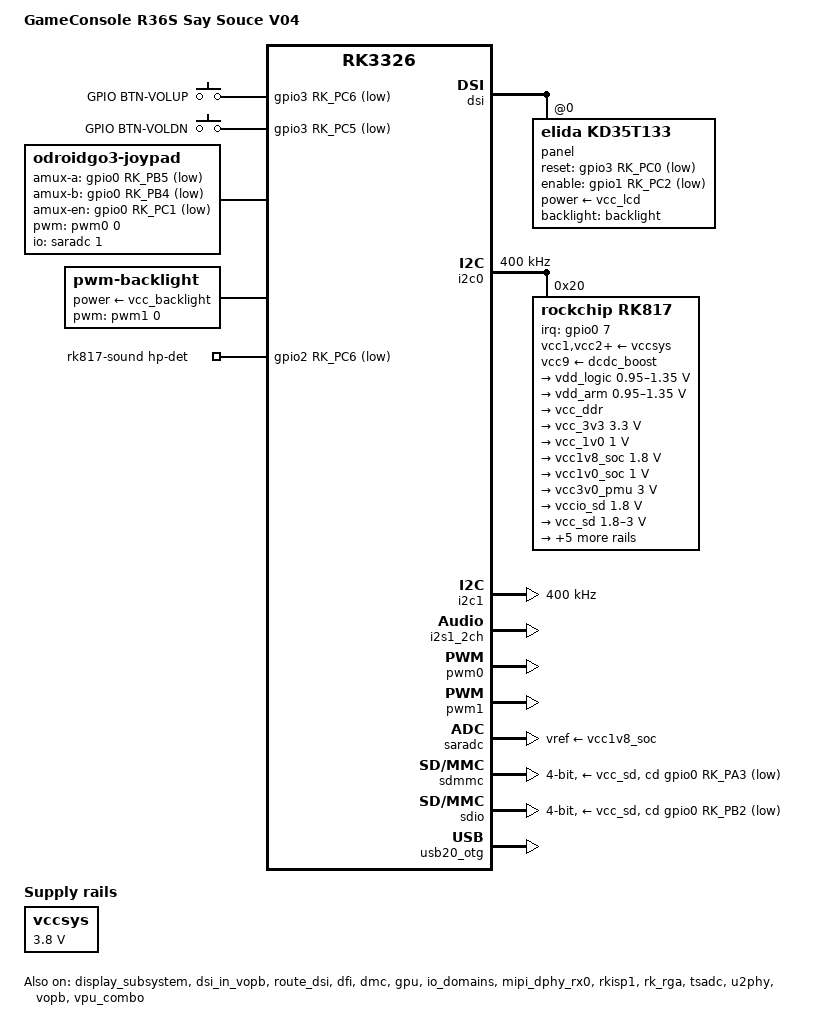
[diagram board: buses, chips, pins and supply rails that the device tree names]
// SPDX-License-Identifier: (GPL-2.0+ OR MIT)
/*
* Copyright (c) 2025 kk&lcdyk
*
* R36S 酱油 V03
*
*/

/dts-v1/;
#include <dt-bindings/display/drm_mipi_dsi.h>
#include <dt-bindings/gpio/gpio.h>
#include <dt-bindings/input/input.h>
#include <dt-bindings/pinctrl/rockchip.h>
#include <dt-bindings/sensor-dev.h>
#include "rk3326.dtsi"
#include "rk3326-linux.dtsi"

/ {
	model = "GameConsole R36S Say Souce V04";
	compatible = "rockchip,rk3326-r36s-sauce04-linux", "rockchip,rk3326";
	
	chosen {
		bootargs = "";
	};
	
	aliases {
		mmc0 = &sdmmc;   /* ff370000：外置 microSD */
		mmc1 = &sdio;   /* ff380000：SDIO Wi-Fi */
	};
	
	gpio_keys: odroidgo3-keys {
		compatible = "gpio-keys";
		#address-cells = <1>;
		#size-cells = <0>;
		autorepeat;
		
		button_vol_up: button-vol-up {
			gpios = <&gpio3 RK_PC6 GPIO_ACTIVE_LOW>;
			label = "GPIO BTN-VOLUP";
			linux,code = <KEY_VOLUMEUP>;
		};
		
		button_vol_down: button-vol-down {
			gpios = <&gpio3 RK_PC5 GPIO_ACTIVE_LOW>;
			label = "GPIO BTN-VOLDN";
			linux,code = <KEY_VOLUMEDOWN>;
		};
	};
	
	joypad: odroidgo3-joypad {
		compatible = "odroidgo3-joypad";
		pwms = <&pwm0 0 200000000 0>;
		pwm-names = "enable";
		rumble-boost-weak = <0x0000>;
		rumble-boost-strong = <0x0000>;
		joypad-name = "GO-Super Gamepad";
		joypad-product = <0x1100>;
		joypad-revision = <0x0100>;
		status = "okay";
		
		/* gpio pincontrol setup */
		pinctrl-names = "default";
		pinctrl-0 = <&btn_pins>;
		pinctrl-1 = <&pwm0_pin>;
		/* Analog mux define */
		io-channel-names = "amux_adc";
		io-channels = <&saradc 1>;
		
		/* adc mux channel count */
		amux-count = <4>;
		amux-channel-mapping = <3 2 0 1>;
		/* adc mux select(a,b) gpio */
		amux-a-gpios = <&gpio0 RK_PB5 GPIO_ACTIVE_LOW>;
		amux-b-gpios = <&gpio0 RK_PB4 GPIO_ACTIVE_LOW>;
		/* adc mux enable gpio */
		amux-en-gpios = <&gpio0 RK_PC1 GPIO_ACTIVE_LOW>;
		/* adc calculate scale */
		button-adc-scale = <2>;
		/* adc deadzone range  */
		button-adc-deadzone = <64>;
		/*
		specifies fuzz value that is used to filter noise from
		the event stream.
		*/
		button-adc-fuzz = <32>;
		button-adc-flat = <32>;
		/*
		Analog Stick data tuning value(precent)
		p = positive direction, n = negative direction
		report value = (real_adc_data * tuning_value) / 100
		*/
		abs_x-p-tuning = <200>;
		abs_x-n-tuning = <200>;
		
		abs_y-p-tuning = <200>;
		abs_y-n-tuning = <200>;
		
		abs_rx-p-tuning = <200>;
		abs_rx-n-tuning = <200>;
		
		abs_ry-p-tuning = <200>;
		abs_ry-n-tuning = <200>;
		
		/* poll device interval (ms), adc read interval */
		poll-interval = <10>;
		invert-absx;
		invert-absy;
		sw1 {
			gpios = <&gpio3 RK_PA7 GPIO_ACTIVE_LOW>;
			label = "GPIO DPAD-UP";
			linux,code = <BTN_DPAD_UP>;
		};
		sw2 {
			gpios = <&gpio3 RK_PB0 GPIO_ACTIVE_LOW>;
			label = "GPIO DPAD-DOWN";
			linux,code = <BTN_DPAD_DOWN>;
		};
		sw3 {
			gpios = <&gpio3 RK_PB2 GPIO_ACTIVE_LOW>;
			label = "GPIO DPAD-LEFT";
			linux,code = <BTN_DPAD_LEFT>;
		};
		sw4 {
			gpios = <&gpio3 RK_PB1 GPIO_ACTIVE_LOW>;
			label = "GPIO DPAD-RIGHT";
			linux,code = <BTN_DPAD_RIGHT>;
		};
		sw5 {
			gpios = <&gpio3 RK_PB6 GPIO_ACTIVE_LOW>;
			label = "GPIO BTN-A";
			linux,code = <BTN_EAST>;
		};
		sw6 {
			gpios = <&gpio3 RK_PB4 GPIO_ACTIVE_LOW>;
			label = "GPIO BTN-B";
			linux,code = <BTN_SOUTH>;
		};
		sw7 {
			gpios = <&gpio3 RK_PB3 GPIO_ACTIVE_LOW>;
			label = "GPIO BTN-Y";
			linux,code = <BTN_WEST>;
		};
		sw8 {
			gpios = <&gpio3 RK_PB5 GPIO_ACTIVE_LOW>;
			label = "GPIO BTN-X";
			linux,code = <BTN_NORTH>;
		};
		sw11 {
			gpios = <&gpio0 RK_PB3 GPIO_ACTIVE_LOW>;
			label = "BTN_THUMBL";
			linux,code = <BTN_TRIGGER_HAPPY3>;
		};
		sw12 {
			gpios = <&gpio3 RK_PD3 GPIO_ACTIVE_LOW>;
			label = "BTN_THUMBR";
			linux,code = <BTN_TRIGGER_HAPPY4>;
		};
		sw13 {
			gpios = <&gpio3 RK_PA4 GPIO_ACTIVE_LOW>;
			label = "GPIO BTN_F";
			linux,code = <BTN_TRIGGER_HAPPY5>;
		};
		sw15 {
			gpios = <&gpio3 RK_PA3 GPIO_ACTIVE_LOW>;
			label = "GPIO BTN_TL";
			linux,code = <BTN_TL>;
		};
		sw16 {
			gpios = <&gpio3 RK_PA0 GPIO_ACTIVE_LOW>;
			label = "GPIO BTN_TR";
			linux,code = <BTN_TR>;
		};
		sw19 {
			gpios = <&gpio3 RK_PA5 GPIO_ACTIVE_LOW>;
			label = "BTN_SELECT";
			linux,code = <BTN_TRIGGER_HAPPY1>;
		};
		sw20 {
			gpios = <&gpio3 RK_PA2 GPIO_ACTIVE_LOW>;
			label = "GPIO BTN_TL2";
			linux,code = <BTN_TL2>;
		};
		sw21 {
			gpios = <&gpio3 RK_PA1 GPIO_ACTIVE_LOW>;
			label = "GPIO BTN_TR2";
			linux,code = <BTN_TR2>;
		};
		sw22 {
			gpios = <&gpio3 RK_PA6 GPIO_ACTIVE_LOW>;
			label = "BTN_START";
			linux,code = <BTN_TRIGGER_HAPPY2>;
		};
	};
	
	fiq-debugger {
		compatible = "rockchip,fiq-debugger";
		rockchip,serial-id = <2>;
		rockchip,wake-irq = <0>;
		/* If enable uart uses irq instead of fiq */
		rockchip,irq-mode-enable = <0>;
		rockchip,baudrate = <1500000>;  /* Only 115200 and 1500000 */
		interrupts = <GIC_SPI 127 IRQ_TYPE_LEVEL_LOW>;
		pinctrl-names = "default";
		pinctrl-0 = <&uart2m1_xfer>;
		status = "okay";
	};
	
	backlight: backlight {
		compatible = "pwm-backlight";
		power-supply = <&vcc_backlight>;
		pwms = <&pwm1 0 40000 0>;
		brightness-levels = <
		0   1   2   3   4   5   6   7
		8   9  10  11  12  13  14  15
		16  17  18  19  20  21  22  23
		24  25  26  27  28  29  30  31
		32  33  34  35  36  37  38  39
		40  41  42  43  44  45  46  47
		48  49  50  51  52  53  54  55
		56  57  58  59  60  61  62  63
		64  65  66  67  68  69  70  71
		72  73  74  75  76  77  78  79
		80  81  82  83  84  85  86  87
		88  89  90  91  92  93  94  95
		96  97  98  99 100 101 102 103
		104 105 106 107 108 109 110 111
		112 113 114 115 116 117 118 119
		120 121 122 123 124 125 126 127
		128 129 130 131 132 133 134 135
		136 137 138 139 140 141 142 143
		144 145 146 147 148 149 150 151
		152 153 154 155 156 157 158 159
		160 161 162 163 164 165 166 167
		168 169 170 171 172 173 174 175
		176 177 178 179 180 181 182 183
		184 185 186 187 188 189 190 191
		192 193 194 195 196 197 198 199
		200 201 202 203 204 205 206 207
		208 209 210 211 212 213 214 215
		216 217 218 219 220 221 222 223
		224 225 226 227 228 229 230 231
		232 233 234 235 236 237 238 239
		240 241 242 243 244 245 246 247
		248 249 250 251 252 253 254 255>;
		default-brightness-level = <80>;
	};
	
	// leds: gpio-leds {
	// 	compatible = "gpio-leds";
	// 	pinctrl-names = "default";
	// 	pinctrl-0 = <&led_pins>;
	
	// 	blue_charge: blue-charge {
	// 		label = "blue:charge";
	// 		gpios = <&gpio0 RK_PA0 GPIO_ACTIVE_HIGH>;
	// 		default-state = "off";
	// 	};
	
	// 	red_charge: red-charge {
	// 		label = "red:charge";
	// 		gpios = <&gpio0 RK_PC1 GPIO_ACTIVE_HIGH>;
	// 		default-state = "off";
	// 	};
	
	// 	blue_work: blue-work {
	// 		label = "blue:work";
	// 		gpios = <&gpio0 RK_PB3 GPIO_ACTIVE_HIGH>;
	// 		default-state = "off";
	// 	};
	
	// 	red_work: red-work {
	// 		label = "red:work";
	// 		gpios = <&gpio0 RK_PB4 GPIO_ACTIVE_HIGH>;
	// 		default-state = "off";
	// 	};
	// };
	rk817-sound {
		compatible = "simple-audio-card";
		simple-audio-card,format = "i2s";
		simple-audio-card,name = "rockchip,rk817-codec";
		simple-audio-card,mclk-fs = <256>;
		simple-audio-card,widgets =
		"Microphone", "Mic Jack",
		"Headphone", "Headphone Jack";
		simple-audio-card,routing =
		"MIC_IN", "Mic Jack",
		/*"IN1P", "Mic Jack",*/
		"Headphone Jack", "HPOL",
		"Headphone Jack", "HPOR";
		simple-audio-card,hp-det-gpio = <&gpio2 RK_PC6 GPIO_ACTIVE_LOW>;
		pinctrl-names = "default";
		pinctrl-0 = <&hp_det>;
		simple-audio-card,cpu {
			sound-dai = <&i2s1_2ch>;
		};
		simple-audio-card,codec {
			sound-dai = <&rk817_codec>;
		};
	};
	
	vccsys: vccsys {
		compatible = "regulator-fixed";
		regulator-name = "vcc3v8_sys";
		regulator-always-on;
		// regulator-boot-on;
		regulator-min-microvolt = <3800000>;
		regulator-max-microvolt = <3800000>;
	};
	
};

&bus_apll {
	bus-supply = <&vdd_logic>;
	status = "okay";
};

&cpu0 {
	cpu-supply = <&vdd_arm>;
};

&cpu0_opp_table {
	rockchip,avs = <1>;
	
	/* bin scaling clock 1.296MHz */
	rockchip,bin-scaling-sel = <
	0               13
	1               13
	>;
	
	/delete-node/ opp-408000000;
	/delete-node/ opp-600000000;
	/delete-node/ opp-816000000;
};

&display_subsystem {
	status = "okay";
};

&dsi {
	status = "okay";
	
	panel@0 {
		compatible = "elida,kd35t133", "simple-panel-dsi";
		reg = <0>;
		/* pwm1 backlight */
		backlight = <&backlight>;
		/* RK817 LDO7 */
		// backlight-supply = <&vcc_backlight>;
		/* RK817 LDO8 */
		power-supply = <&vcc_lcd>;
		/* LCD reset gpio GPIO3.B7 */
		reset-gpios = <&gpio3 RK_PC0 GPIO_ACTIVE_LOW>;
		/* power-supply-gpio GPIO0.B5  */
		enable-gpios = <&gpio1 RK_PC2 GPIO_ACTIVE_LOW>;
		prepare-delay-ms = <100>;
		reset-delay-ms = <50>;
		init-delay-ms = <20>;
		enable-delay-ms = <200>;
		disable-delay-ms = <50>;
		unprepare-delay-ms = <20>;
		width-mm = <71>;
		height-mm = <71>;
		dsi,flags  = <0xa03>;
		dsi,format = <MIPI_DSI_FMT_RGB888>;
		dsi,lanes = <4>;
		panel-init-sequence = [39 00 04 b9 f1 12 83 39 00 1c ba 33 81 05 f9 0e 0e 20 00 00 00 00 00 00 00 44 25 00 91 0a 00 00 02 4f d1 00 00 37 15 00 02 b8 25 39 00 04 bf 02 11 00 39 00 0b b3 0c 10 0a 50 03 ff 00 00 00 00 39 00 0a c0 73 73 50 50 00 00 08 70 00 15 00 02 bc 46 15 00 02 cc 0b 15 00 02 b4 80 39 00 04 b2 00 13 f0 39 00 0f e3 07 07 0b 0b 03 0b 00 00 00 00 ff 00 c0 10 39 00 0d c1 53 00 1e 1e 77 e1 cc dd 67 77 33 33 39 00 03 b5 10 10 39 00 03 b6 6c 7c 39 00 40 e9 08 00 0e 00 00 b0 b1 11 31 23 28 10 b0 b1 27 08 00 04 02 00 00 00 00 04 02 00 00 00 88 88 ba 60 24 08 88 88 88 88 88 88 88 ba 71 35 18 88 88 88 88 88 00 00 00 01 00 00 00 00 00 00 00 00 00 39 00 3e ea 97 0a 82 02 13 07 00 00 00 00 00 00 80 88 ba 17 53 88 88 88 88 88 88 81 88 ba 06 42 88 88 88 88 88 88 23 10 00 02 80 00 00 00 00 00 00 00 00 00 00 00 00 00 00 00 00 00 00 00 00 00 00 39 00 23 e0 00 07 0b 27 2d 3f 3b 37 05 0a 0b 0f 11 0f 12 12 18 00 07 0b 27 2d 3f 3b 37 05 0a 0b 0f 11 0f 12 12 18 05 96 01 11 05 32 01 29];
		panel-exit-sequence = <0x5140128 0x50a0110>;
		
		display-timings {
			native-mode = <&timing0>;
			
			timing0: adjust {
				clock-frequency = <40000000>;
				hactive = <640>;
				vactive = <480>;
				hfront-porch = <210>;
				hsync-len = <210>;
				hback-porch = <210>;
				vfront-porch = <22>;
				vsync-len = <6>;
				vback-porch = <17>;
				hsync-active = <0>;
				vsync-active = <0>;
				de-active = <0>;
				pixelclk-active = <0>;
			};
			timing1: origin {
				clock-frequency = <40000000>;
				hactive = <640>;
				vactive = <480>;
				hback-porch = <120>;
				hfront-porch = <120>;
				vback-porch = <13>;
				vfront-porch = <17>;
				hsync-len = <120>;
				vsync-len = <5>;
				hsync-active = <0>;
				vsync-active = <0>;
				de-active = <0>;
				pixelclk-active = <0>;
			};
		};
	};
};

&dsi_in_vopb {
	status = "okay";
};

&route_dsi {
	connect = <&vopb_out_dsi>;
	status = "okay";
};

&dfi {
	status = "okay";
};

&dmc {
	operating-points-v2 = <&dmc_opp_table>;
	center-supply = <&vdd_logic>;
	status = "okay";
};

&dmc_opp_table {
	/delete-node/ opp-194000000;
	/delete-node/ opp-328000000;
	/delete-node/ opp-450000000;
	
	opp-786000000 {
		status = "okay";
	};
};

&gpu_opp_table {
	/delete-node/ opp-200000000;
	/delete-node/ opp-300000000;
};

&emmc {
	status = "disabled";
};

&sfc {
	status = "disabled";
};

&gpu {
	operating-points-v2 = <&gpu_opp_table>;
	mali-supply = <&vdd_logic>;
	status = "okay";
};

&i2c0 {
	status = "okay";
	clock-frequency = <400000>;
	i2c-scl-rising-time-ns = <280>;
	i2c-scl-falling-time-ns = <16>;
	
	rk817: pmic@20 {
		compatible = "rockchip,rk817";
		reg = <0x20>;
		interrupt-parent = <&gpio0>;
		interrupts = <7 IRQ_TYPE_LEVEL_LOW>;
		pinctrl-names = "default", "pmic-sleep",
		"pmic-power-off", "pmic-reset";
		pinctrl-0 = <&pmic_int>;
		pinctrl-1 = <&soc_slppin_slp>, <&rk817_slppin_slp>;
		pinctrl-2 = <&soc_slppin_gpio>, <&rk817_slppin_pwrdn>;
		pinctrl-3 = <&soc_slppin_rst>, <&rk817_slppin_rst>;
		rockchip,system-power-controller;
		wakeup-source;
		#clock-cells = <1>;
		clock-output-names = "rk808-clkout1", "rk808-clkout2";
		//fb-inner-reg-idxs = <2>;
		
		/* 1: rst regs (default in codes), 0: rst the pmic */
		pmic-reset-func = <1>;
		
		vcc1-supply = <&vccsys>;
		vcc2-supply = <&vccsys>;
		vcc3-supply = <&vccsys>;
		vcc4-supply = <&vccsys>;
		vcc5-supply = <&vccsys>;
		vcc6-supply = <&vccsys>;
		vcc7-supply = <&vccsys>;
		vcc8-supply = <&vccsys>;
		vcc9-supply = <&dcdc_boost>;
		
		pwrkey {
			status = "okay";
		};
		
		pinctrl_rk8xx: pinctrl_rk8xx {
			gpio-controller;
			#gpio-cells = <2>;
			
			rk817_ts_gpio1: rk817_ts_gpio1 {
				pins = "gpio_ts";
				function = "pin_fun1";
				/* output-low; */
				/* input-enable; */
			};
			
			rk817_gt_gpio2: rk817_gt_gpio2 {
				pins = "gpio_gt";
				function = "pin_fun1";
			};
			
			rk817_pin_ts: rk817_pin_ts {
				pins = "gpio_ts";
				function = "pin_fun0";
			};
			
			rk817_pin_gt: rk817_pin_gt {
				pins = "gpio_gt";
				function = "pin_fun0";
			};
			
			rk817_slppin_null: rk817_slppin_null {
				pins = "gpio_slp";
				function = "pin_fun0";
			};
			
			rk817_slppin_slp: rk817_slppin_slp {
				pins = "gpio_slp";
				function = "pin_fun1";
			};
			
			rk817_slppin_pwrdn: rk817_slppin_pwrdn {
				pins = "gpio_slp";
				function = "pin_fun2";
			};
			
			rk817_slppin_rst: rk817_slppin_rst {
				pins = "gpio_slp";
				function = "pin_fun3";
			};
		};
		
		regulators {
			vdd_logic: DCDC_REG1 {
				regulator-always-on;
				regulator-boot-on;
				regulator-min-microvolt = <950000>;
				regulator-max-microvolt = <1350000>;
				regulator-ramp-delay = <6001>;
				regulator-initial-mode = <0x2>;
				regulator-name = "vdd_logic";
				regulator-state-mem {
					regulator-on-in-suspend;
					regulator-suspend-microvolt = <950000>;
				};
			};
			
			vdd_arm: DCDC_REG2 {
				regulator-always-on;
				regulator-boot-on;
				regulator-min-microvolt = <950000>;
				regulator-max-microvolt = <1350000>;
				regulator-ramp-delay = <6001>;
				regulator-initial-mode = <0x2>;
				regulator-name = "vdd_arm";
				regulator-state-mem {
					regulator-off-in-suspend;
					regulator-suspend-microvolt = <950000>;
				};
			};
			
			vcc_ddr: DCDC_REG3 {
				regulator-always-on;
				regulator-boot-on;
				regulator-initial-mode = <0x2>;
				regulator-name = "vcc_ddr";
				regulator-state-mem {
					regulator-on-in-suspend;
				};
			};
			
			vcc_3v3: DCDC_REG4 {
				regulator-always-on;
				regulator-boot-on;
				regulator-min-microvolt = <3300000>;
				regulator-max-microvolt = <3300000>;
				regulator-initial-mode = <0x2>;
				regulator-name = "vcc_3v3";
				regulator-state-mem {
					regulator-off-in-suspend;
					regulator-suspend-microvolt = <3300000>;
				};
			};
			
			/* Not Used */
			vcc_1v0: LDO_REG1 {
				regulator-always-on;
				regulator-boot-on;
				regulator-min-microvolt = <1000000>;
				regulator-max-microvolt = <1000000>;
				regulator-name = "vcc_1v0";
				regulator-state-mem {
					regulator-on-in-suspend;
					regulator-suspend-microvolt = <1000000>;
				};
			};
			
			vcc1v8_soc: LDO_REG2 {
				regulator-always-on;
				regulator-boot-on;
				regulator-min-microvolt = <1800000>;
				regulator-max-microvolt = <1800000>;
				
				regulator-name = "vcc1v8_soc";
				regulator-state-mem {
					regulator-on-in-suspend;
					regulator-suspend-microvolt = <1800000>;
				};
			};
			
			vcc1v0_soc: LDO_REG3 {
				regulator-always-on;
				regulator-boot-on;
				regulator-min-microvolt = <1000000>;
				regulator-max-microvolt = <1000000>;
				
				regulator-name = "vcc1v0_soc";
				regulator-state-mem {
					regulator-on-in-suspend;
					regulator-suspend-microvolt = <1000000>;
				};
			};
			
			vcc3v0_pmu: LDO_REG4 {
				regulator-always-on;
				regulator-boot-on;
				regulator-min-microvolt = <3000000>;
				regulator-max-microvolt = <3000000>;
				
				regulator-name = "vcc3v0_pmu";
				regulator-state-mem {
					regulator-on-in-suspend;
					regulator-suspend-microvolt = <3000000>;
				};
			};
			
			vccio_sd: LDO_REG5 {
				regulator-always-on;
				regulator-boot-on;
				regulator-min-microvolt = <1800000>;
				regulator-max-microvolt = <1800000>;
				
				regulator-name = "vccio_sd";
				regulator-state-mem {
					regulator-on-in-suspend;
					regulator-suspend-microvolt = <1800000>;
				};
			};
			
			vcc_sd: LDO_REG6 {
				regulator-min-microvolt = <1800000>;
				regulator-max-microvolt = <3000000>;
				regulator-always-on;
				regulator-boot-on;
				
				regulator-name = "vcc_sd";
				regulator-state-mem {
					regulator-on-in-suspend;
					regulator-suspend-microvolt = <3000000>;
				};
			};
			
			/* Rev 0.2 LCD Backlight Power */
			vcc_backlight: LDO_REG7 {
				regulator-always-on;
				regulator-boot-on;
				regulator-min-microvolt = <1800000>;
				regulator-max-microvolt = <3300000>;
				regulator-init-microvolt = <3000000>;
				regulator-name = "vcc_backlight";
				regulator-state-mem {
					regulator-on-in-suspend;
					regulator-suspend-microvolt = <3000000>;
				};
			};
			
			/* Rev 0.2 LCD IO Power */
			vcc_lcd: LDO_REG8 {
				regulator-always-on;
				regulator-boot-on;
				regulator-min-microvolt = <3300000>;
				regulator-max-microvolt = <3300000>;
				
				regulator-name = "vcc_lcd";
				regulator-state-mem {
					regulator-on-in-suspend;
					regulator-suspend-microvolt = <3300000>;
				};
			};
			
			vdd_11: LDO_REG9 {
				regulator-always-on;
				regulator-boot-on;
				regulator-min-microvolt = <1100000>;
				regulator-max-microvolt = <1100000>;
				
				regulator-name = "vdd_11";
				regulator-state-mem {
					regulator-off-in-suspend;
					regulator-suspend-microvolt = <1100000>;
				};
			};
			
			dcdc_boost: BOOST {
				regulator-always-on;
				regulator-boot-on;
				regulator-min-microvolt = <4700000>;
				regulator-max-microvolt = <5400000>;
				regulator-name = "boost";
			};
			
			otg_switch: OTG_SWITCH {
				regulator-boot-on;
				regulator-name = "otg_switch";
			};
		};
		
		battery {
			compatible = "rk817,battery";
			ocv_table = <
			3300 3340 3380 3420 3460 3500 3540
			3570 3610 3650 3690 3720 3750 3790
			3830 3870 3910 3940 3967 4001 4046
			>;
			design_capacity = <3188>;
			design_qmax = <3506>;
			bat_res = <113>;
			sleep_enter_current = <300>;
			sleep_exit_current = <300>;
			sleep_filter_current = <100>;
			power_off_thresd = <3300>;
			zero_algorithm_vol = <3850>;
			max_soc_offset = <60>;
			monitor_sec = <5>;
			sample_res = <10>;
			virtual_power = <0>;
			power_dc2otg = <0>;
			bat-low-threshold = <30>;
			bat_low_gpio = <&gpio0 RK_PA5 GPIO_ACTIVE_HIGH>;
		};
		
		charger {
			compatible = "rk817,charger";
			min_input_voltage = <4500>;
			max_input_current = <1500>;
			max_chrg_current = <2000>;
			max_chrg_voltage = <4200>;
			chrg_term_mode = <0>;
			chrg_finish_cur = <52>;
			virtual_power = <0>;
			sample_res = <10>;
			dc_det_gpio  = <&gpio3 RK_PC7 GPIO_ACTIVE_HIGH>;
			
			extcon = <&u2phy>;
		};
		
		rk817_codec: codec {
			#sound-dai-cells = <0>;
			compatible = "rockchip,rk817-codec";
			clocks = <&cru SCLK_I2S1_OUT>;
			clock-names = "mclk";
			pinctrl-names = "default";
			pinctrl-0 = <&i2s1_2ch_mclk>;
			spk-ctl-gpios = <&gpio3 RK_PC4 GPIO_ACTIVE_HIGH>;
			spk-mute-delay-ms = <50>;
			hp-volume = <20>;
			spk-volume = <1>;
			status = "okay";
		};
	};
};

/* EXT Header(P2) : 7(SCL:GPIO0.C2), 8(SDA:GPIO0.C3) */
&i2c1 {
	status = "okay";
	clock-frequency = <400000>;
};

/* MIPI CSI I2C */
&i2c2 {
	status = "disabled";
};

/* I2S 1 Channel Used */
&i2s1_2ch {
	status = "okay";
	#sound-dai-cells = <0>;
};

&io_domains {
	/* GRF Register Voltage select control */
	status = "okay";
	/* SDIO I/O Voltage */
	vccio1-supply = <&vccio_sd>;
	/* SDMMC I/O Voltage */
	vccio2-supply = <&vccio_sd>;
	/* CAM I/O Voltage */
	vccio3-supply = <&vcc_3v3>;
	/* LVDS/LCDC I/O Voltage */
	vccio4-supply = <&vcc_3v3>;
	/* I2S I/O Voltage */
	vccio5-supply = <&vcc_3v3>;
	/* eMMC I/O Voltage */
	vccio6-supply = <&vcc_3v3>;
};

&isp_mmu {
	status = "okay";
};

&mipi_dphy_rx0 {
	status = "okay";
};

&rkisp1 {
	status = "okay";
};

&spi0 {
	status = "disabled";
};

&pmu_io_domains {
	/* PMU GRF Register Voltage select control */
	status = "okay";
	
	/* PMU I/O Voltage */
	pmuio1-supply = <&vcc3v0_pmu>;
	/* GPIO0_B/GPIO0_C, Flash */
	pmuio2-supply = <&vcc3v0_pmu>;
};

/* RG351MP Motor PWM */
&pwm0 {
	status = "okay";
};

/* LCD Backlight PWM */
&pwm1 {
	status = "okay";
};

&rk_rga {
	status = "okay";
};

&rockchip_suspend {
	status = "okay";
	rockchip,sleep-debug-en = <1>;
};

&saradc {
	status = "okay";
	vref-supply = <&vcc1v8_soc>;
};

&sdmmc {
	bus-width = <4>;
	cap-mmc-highspeed;
	cap-sd-highspeed;
	supports-sd;
	card-detect-delay = <800>;
	ignore-pm-notify;
	cd-gpios = <&gpio0 RK_PA3 GPIO_ACTIVE_LOW>;
	sd-uhs-sdr12;
	sd-uhs-sdr25;
	sd-uhs-sdr50;
	sd-uhs-sdr104;
	vqmmc-supply = <&vccio_sd>;
	vmmc-supply = <&vcc_sd>;
	status = "okay";
};

&sdio {
	bus-width = <4>;
	cap-mmc-highspeed;
	cap-sd-highspeed;
	supports-sd;
	card-detect-delay = <800>;
	ignore-pm-notify;
	cd-gpios = <&gpio0 RK_PB2 GPIO_ACTIVE_LOW>;
	sd-uhs-sdr12;
	sd-uhs-sdr25;
	sd-uhs-sdr50;
	sd-uhs-sdr104;
	vqmmc-supply = <&vccio_sd>;
	vmmc-supply = <&vcc_sd>;
	status = "okay";
};

&tsadc {
	pinctrl-names = "gpio", "otpout";
	pinctrl-0 = <&tsadc_otp_gpio>;
	pinctrl-1 = <&tsadc_otp_out>;
	status = "okay";
};

&u2phy {
	status = "okay";
	
	u2phy_host: host-port {
		status = "okay";
	};
	
	u2phy_otg: otg-port {
		status = "disabled";
	};
};

&usb20_otg {
	status = "okay";
};

&uart1 {
	pinctrl-names = "default";
	pinctrl-0 = <&uart1_xfer &uart1_cts>;
	status = "disabled";
};

&uart0 {
	status = "disabled";
};

&uart2 {
	status = "disabled";
};

&uart3 {
	status = "disabled";
};

&uart4 {
	status = "disabled";
};

&uart5 {
	clock-frequency = <115200>;
	status = "disabled";
};

&vip_mmu {
	status = "okay";
};

&vopb {
	status = "okay";
};

&vopb_mmu {
	status = "okay";
};

&vpu_combo {
	status = "okay";
};

&pinctrl {
	
	pmic {
		pmic_int: pmic_int {
			rockchip,pins =
			<0 RK_PA7 RK_FUNC_GPIO &pcfg_pull_up>,
			<3 RK_PC7 RK_FUNC_GPIO &pcfg_pull_none>;
		};
		
		soc_slppin_gpio: soc_slppin_gpio {
			rockchip,pins =
			<0 RK_PA4 RK_FUNC_GPIO &pcfg_output_low>;
		};
		
		soc_slppin_slp: soc_slppin_slp {
			rockchip,pins =
			<0 RK_PA4 RK_FUNC_1 &pcfg_pull_none>;
		};
		
		soc_slppin_rst: soc_slppin_rst {
			rockchip,pins =
			<0 RK_PA4 RK_FUNC_2 &pcfg_pull_none>;
		};
	};
	
	// leds {
	// 	led_pins: led-pins {
	// 		rockchip,pins =             
	// 			<0 RK_PA0 RK_FUNC_GPIO &pcfg_pull_none>, /* charge blue  GPIO0_A0 */
	// 			<0 RK_PC1 RK_FUNC_GPIO &pcfg_pull_none>, /* charge red   GPIO0_C1 */
	// 			<0 RK_PB3 RK_FUNC_GPIO &pcfg_pull_none>, /* work blue   GPIO0_B3 */
	// 			<0 RK_PB4 RK_FUNC_GPIO &pcfg_pull_none>; /* work red    GPIO0_B4 */
	// 	};
	// };
	btns {
		btn_pins: btn-pins {
			rockchip,pins =
			<3 RK_PB4 RK_FUNC_GPIO &pcfg_pull_up>,
			<1 RK_PB5 RK_FUNC_GPIO &pcfg_pull_up>,
			<3 RK_PB6 RK_FUNC_GPIO &pcfg_pull_up>,
			<1 RK_PB7 RK_FUNC_GPIO &pcfg_pull_up>,
			<1 RK_PA2 RK_FUNC_GPIO &pcfg_pull_up>,
			<1 RK_PA5 RK_FUNC_GPIO &pcfg_pull_up>,
			<1 RK_PA6 RK_FUNC_GPIO &pcfg_pull_up>,
			<1 RK_PA7 RK_FUNC_GPIO &pcfg_pull_up>,
			<2 RK_PA0 RK_FUNC_GPIO &pcfg_pull_up>,
			<2 RK_PA1 RK_FUNC_GPIO &pcfg_pull_up>,
			<2 RK_PA2 RK_FUNC_GPIO &pcfg_pull_up>,
			<2 RK_PA3 RK_FUNC_GPIO &pcfg_pull_up>,
			<2 RK_PA4 RK_FUNC_GPIO &pcfg_pull_up>,
			<2 RK_PA5 RK_FUNC_GPIO &pcfg_pull_up>,
			<2 RK_PA6 RK_FUNC_GPIO &pcfg_pull_up>,
			<2 RK_PA7 RK_FUNC_GPIO &pcfg_pull_up>,
			<0 RK_PB7 RK_FUNC_GPIO &pcfg_pull_up>,
			<3 RK_PB2 RK_FUNC_GPIO &pcfg_pull_up>;
		};
	};
	headphone {
		hp_det: hp-det {
			rockchip,pins = <2 RK_PC6 RK_FUNC_GPIO &pcfg_pull_none>;
		};
	};
};

/* DON'T PUT ANYTHING BELOW HERE.  PUT IT ABOVE PINCTRL */

